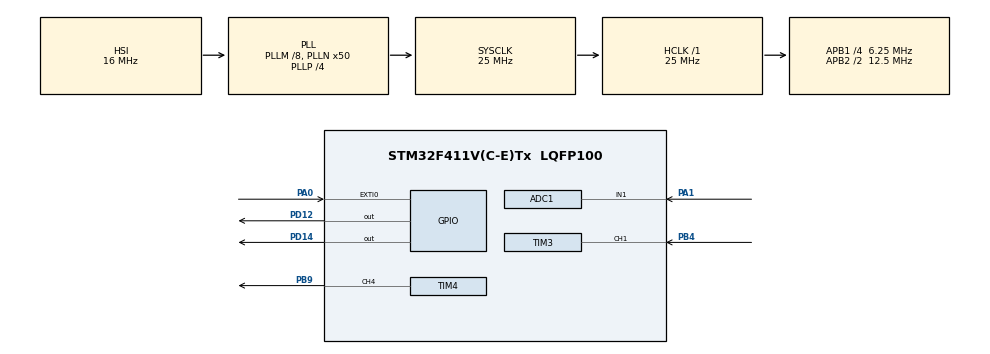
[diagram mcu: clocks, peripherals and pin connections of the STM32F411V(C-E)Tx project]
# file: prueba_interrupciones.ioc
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ADC1.Channel-0\#ChannelRegularConversion=ADC_CHANNEL_1
ADC1.DMAContinuousRequests=ENABLE
ADC1.NbrOfConversionFlag=1
ADC1.Rank-0\#ChannelRegularConversion=1
ADC1.Resolution=ADC_RESOLUTION_8B
ADC1.SamplingTime-0\#ChannelRegularConversion=ADC_SAMPLETIME_480CYCLES
ADC1.master=1
Dma.ADC1.0.Direction=DMA_PERIPH_TO_MEMORY
Dma.ADC1.0.FIFOMode=DMA_FIFOMODE_DISABLE
Dma.ADC1.0.Instance=DMA2_Stream0
Dma.ADC1.0.MemDataAlignment=DMA_MDATAALIGN_WORD
Dma.ADC1.0.MemInc=DMA_MINC_ENABLE
Dma.ADC1.0.Mode=DMA_CIRCULAR
Dma.ADC1.0.PeriphDataAlignment=DMA_PDATAALIGN_WORD
Dma.ADC1.0.PeriphInc=DMA_PINC_DISABLE
Dma.ADC1.0.Priority=DMA_PRIORITY_LOW
Dma.Request0=ADC1
Mcu.Family=STM32F4
Mcu.Name=STM32F411V(C-E)Tx
Mcu.Package=LQFP100
NVIC.ADC_IRQn=true\:0\:0\:false\:false\:true\:true\:true\:true
NVIC.DMA2_Stream0_IRQn=true\:0\:0\:false\:false\:true\:false\:true\:true
NVIC.EXTI0_IRQn=true\:0\:0\:false\:false\:true\:true\:true\:true
NVIC.PriorityGroup=NVIC_PRIORITYGROUP_0
NVIC.TIM1_UP_TIM10_IRQn=true\:0\:0\:false\:false\:true\:true\:true\:true
NVIC.TIM3_IRQn=true\:0\:0\:false\:false\:true\:true\:true\:true
PA0-WKUP.GPIO_ModeDefaultEXTI=GPIO_MODE_IT_RISING
PA0-WKUP.Signal=GPXTI0
PA1.Signal=ADCx_IN1
PB4.Signal=S_TIM3_CH1
PB9.Signal=S_TIM4_CH4
PD12.Signal=GPIO_Output
PD14.Signal=GPIO_Output
ProjectManager.HeapSize=0x200
ProjectManager.StackSize=0x400
ProjectManager.TargetToolchain=STM32CubeIDE
RCC.48MHZClocksFreq_Value=12500000
RCC.AHBFreq_Value=25000000
RCC.APB1CLKDivider=RCC_HCLK_DIV4
RCC.APB1Freq_Value=6250000
RCC.APB1TimFreq_Value=12500000
RCC.APB2CLKDivider=RCC_HCLK_DIV2
RCC.APB2Freq_Value=12500000
RCC.APB2TimFreq_Value=25000000
RCC.CortexFreq_Value=25000000
RCC.HCLKFreq_Value=25000000
RCC.HSE_VALUE=8000000
RCC.HSI_VALUE=16000000
RCC.LSE_VALUE=32768
RCC.PLLI2SM=5
RCC.PLLI2SN=200
RCC.PLLM=8
RCC.PLLN=50
RCC.PLLP=RCC_PLLP_DIV4
RCC.PLLQ=8
RCC.SYSCLKFreq_VALUE=25000000
RCC.SYSCLKSource=RCC_SYSCLKSOURCE_PLLCLK
RCC.VCOOutputFreq_Value=100000000
SH.ADCx_IN1.0=ADC1_IN1,IN1
SH.S_TIM3_CH1.0=TIM3_CH1,Input_Capture1_from_TI1
SH.S_TIM4_CH4.0=TIM4_CH4,PWM Generation4 CH4
TIM10.Period=9999
TIM10.Prescaler=49999
TIM3.Channel-Input_Capture1_from_TI1=TIM_CHANNEL_1
TIM3.Period=999
TIM3.Prescaler=49
TIM4.Channel-PWM\ Generation4\ CH4=TIM_CHANNEL_4
TIM4.Period=999
TIM4.Prescaler=49
VP_TIM10_VS_ClockSourceINT.Mode=Enable_Timer
VP_TIM3_VS_ClockSourceINT.Mode=Internal
board=STM32F411E-DISCO

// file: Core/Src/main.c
/* USER CODE BEGIN Header */
/**
  ******************************************************************************
  * @file           : main.c
  * @brief          : Main program body
  ******************************************************************************
  * @attention
  *
  * Copyright (c) 2025 STMicroelectronics.
  * All rights reserved.
  *
  * This software is licensed under terms that can be found in the LICENSE file
  * in the root directory of this software component.
  * If no LICENSE file comes with this software, it is provided AS-IS.
  *
  ******************************************************************************
  */
/* USER CODE END Header */
#include "main.h"

/* USER CODE BEGIN PD */
#define Umbral_light 50    //CONSTANTE PARA MEDIR LUMINOSIDAD
#define Umbral_distance 400	//CONSTANTE PARA MEDIR LA DISTANCIA
/* USER CODE END PD */

ADC_HandleTypeDef hadc1;
DMA_HandleTypeDef hdma_adc1;

TIM_HandleTypeDef htim3;
TIM_HandleTypeDef htim4;
TIM_HandleTypeDef htim10;

/* USER CODE BEGIN PV */
uint32_t luz=0;//aqui se almacena el valor digital de la luminosidad una vez convertido del analogico
uint32_t IC_1 = 0; // valor del contador en el flanco de subida
uint32_t IC_2 = 0; // valor del contador en el flanco de bajada
uint32_t distancia = 0; // distancia detectada por el ultrasonido

volatile uint8_t SW=0;//SW activo o no
volatile uint8_t sensor_luz=0;//sensor de luz activo o no
volatile uint8_t sensor_presencia=0;//sensor de presencia activo o no
/* USER CODE END PV */

void SystemClock_Config(void);
static void MX_GPIO_Init(void);
static void MX_DMA_Init(void);
static void MX_ADC1_Init(void);
static void MX_TIM4_Init(void);
static void MX_TIM3_Init(void);
static void MX_TIM10_Init(void);

/* USER CODE BEGIN 0 */

void HAL_GPIO_EXTI_Callback(uint16_t GPIO_Pin){
	if(GPIO_Pin == GPIO_PIN_0){
		if(SW == 0){
			SW = 1;
			sensor_luz = 0; //forzamos que la luz no se pueda encender por presencia
			HAL_ADC_Stop_DMA(&hadc1); // paramos la medida de la luminosidad
			HAL_TIM_IC_Stop_IT(&htim3, TIM_CHANNEL_1); // paramos la medida de la presencia
		}
		else{
			SW = 0;
			HAL_ADC_Start_DMA(&hadc1, &luz, 1); // arrancamos la medida de la luminosidad
			HAL_TIM_IC_Start_IT(&htim3, TIM_CHANNEL_1); // arrancamos la medida de la presencia
		}
	}
}

void HAL_ADC_ConvCpltCallback(ADC_HandleTypeDef *hadc){
	if(hadc->Instance == ADC1){
		// Como el DMA lo hace por nosotros, no hace falta coger el valor devuelto por el convertidor
		//como estamos usando DMA, no tenemos que tratar el valor devuelto por el convertidor
		if(luz < Umbral_light && sensor_luz == 0){
			sensor_luz = 1; // si no hay luz ambiente, podemos encender el LED
			sensor_presencia = 0;
		}
		else if(luz > Umbral_light && sensor_luz == 1){
			sensor_luz = 0; // si hay luz ambiente, no podemos encender el LED
			sensor_presencia = 0;
		}
		HAL_ADC_Start_DMA(&hadc1, &luz, 1); // arrancamos de nuevo el convertidor
	}
}

void HAL_TIM_IC_CaptureCallback(TIM_HandleTypeDef *htim){
	if(htim->Instance == TIM3){
		if (IC_1 == 0){ // si todavia no se ha producido el flanco de subida
			IC_1 = HAL_TIM_ReadCapturedValue(&htim3, TIM_CHANNEL_1);//leemos el valor del tiempo cuando ocurre el flanco de subida
			// Cambiamos la sensibilidad de la interrupción al flanco de bajada
			__HAL_TIM_SET_CAPTUREPOLARITY(&htim3, TIM_CHANNEL_1, TIM_INPUTCHANNELPOLARITY_FALLING);
		}
		else if (IC_1 != 0){ // si ya se ha producido el flanco de subida
			IC_2 = HAL_TIM_ReadCapturedValue(&htim3, TIM_CHANNEL_1);//leemos el valor del tiempo cuando ocurre el flanco de bajada

			__HAL_TIM_SET_COUNTER(htim, 0);
			if (IC_2 > IC_1){
				distancia = IC_2 - IC_1;
			}
			else if (IC_1 > IC_2){
				distancia = (0xffff - IC_1) + IC_2;
			}
			if(distancia < Umbral_distance){ // presencia detectada
				sensor_presencia = 1;
				HAL_TIM_Base_Start_IT(&htim10); // iniciamos el temporizador de 5 segundos
			}
			IC_1 = 0;
			// Cambiamos la sensibilidad de la interrupción al flanco de subida
			__HAL_TIM_SET_CAPTUREPOLARITY(&htim3, TIM_CHANNEL_1, TIM_INPUTCHANNELPOLARITY_RISING);
		}
	}
}

void HAL_TIM_PeriodElapsedCallback(TIM_HandleTypeDef *htim){
	if(htim->Instance == TIM10){
		sensor_presencia = 0;
		HAL_TIM_Base_Stop_IT(&htim10);
	}
}
/* USER CODE END 0 */

int main(void)
{

  /* MCU Configuration--------------------------------------------------------*/

  /* Reset of all peripherals, Initializes the Flash interface and the Systick. */
  HAL_Init();

  /* Configure the system clock */
  SystemClock_Config();

  /* Initialize all configured peripherals */
  MX_GPIO_Init();
  MX_DMA_Init();
  MX_ADC1_Init();
  MX_TIM4_Init();
  MX_TIM3_Init();
  MX_TIM10_Init();
  /* USER CODE BEGIN 2 */
  HAL_TIM_IC_Start_IT(&htim3, TIM_CHANNEL_1);//iniciamos el temporizador input capture
  HAL_TIM_PWM_Start(&htim4, TIM_CHANNEL_4);//temporizador para el trigger del sensor ultrasonido
  __HAL_TIM_SET_COMPARE(&htim4, TIM_CHANNEL_4, 10);
  HAL_ADC_Start_DMA(&hadc1, &luz, 1);//iniciamos el conversor analogico digital para el sensor LDR
  /* USER CODE END 2 */

  /* Infinite loop */
  while (1)
  {

    /* USER CODE BEGIN 3 */
	  // Si el LED verde está encendido (PD12), apaga el LED rojo (PD14)
	  if (HAL_GPIO_ReadPin(GPIOD, GPIO_PIN_12) == GPIO_PIN_SET)
	  {
	      HAL_GPIO_WritePin(GPIOD, GPIO_PIN_14, GPIO_PIN_RESET); // Apaga LED rojo
	  }
	  else
	  {
	      HAL_GPIO_WritePin(GPIOD, GPIO_PIN_14, GPIO_PIN_SET); // Enciende LED rojo
	  }

	  if(SW==1)//bucle para encender el led con el SW
	  {
		  HAL_GPIO_WritePin(GPIOD, GPIO_PIN_12, GPIO_PIN_SET);
	  }else if(SW==0 && sensor_luz==1 && sensor_presencia==1)//bucle para encender el led con presencia
	  {
		  HAL_GPIO_WritePin(GPIOD, GPIO_PIN_12, GPIO_PIN_SET);
		  HAL_GPIO_WritePin(GPIOD, GPIO_PIN_14, GPIO_PIN_RESET);
		  HAL_Delay(5000);
	  }else
	  {
		  HAL_GPIO_WritePin(GPIOD, GPIO_PIN_12, GPIO_PIN_RESET);
	  }
  }
  /* USER CODE END 3 */
}

void SystemClock_Config(void)
{
  RCC_OscInitTypeDef RCC_OscInitStruct = {0};
  RCC_ClkInitTypeDef RCC_ClkInitStruct = {0};

  /** Configure the main internal regulator output voltage
  */
  __HAL_RCC_PWR_CLK_ENABLE();
  __HAL_PWR_VOLTAGESCALING_CONFIG(PWR_REGULATOR_VOLTAGE_SCALE1);

  /** Initializes the RCC Oscillators according to the specified parameters
  * in the RCC_OscInitTypeDef structure.
  */
  RCC_OscInitStruct.OscillatorType = RCC_OSCILLATORTYPE_HSI;
  RCC_OscInitStruct.HSIState = RCC_HSI_ON;
  RCC_OscInitStruct.HSICalibrationValue = RCC_HSICALIBRATION_DEFAULT;
  RCC_OscInitStruct.PLL.PLLState = RCC_PLL_ON;
  RCC_OscInitStruct.PLL.PLLSource = RCC_PLLSOURCE_HSI;
  RCC_OscInitStruct.PLL.PLLM = 8;
  RCC_OscInitStruct.PLL.PLLN = 50;
  RCC_OscInitStruct.PLL.PLLP = RCC_PLLP_DIV4;
  RCC_OscInitStruct.PLL.PLLQ = 8;
  if (HAL_RCC_OscConfig(&RCC_OscInitStruct) != HAL_OK)
  {
    Error_Handler();
  }

  /** Initializes the CPU, AHB and APB buses clocks
  */
  RCC_ClkInitStruct.ClockType = RCC_CLOCKTYPE_HCLK|RCC_CLOCKTYPE_SYSCLK
                              |RCC_CLOCKTYPE_PCLK1|RCC_CLOCKTYPE_PCLK2;
  RCC_ClkInitStruct.SYSCLKSource = RCC_SYSCLKSOURCE_PLLCLK;
  RCC_ClkInitStruct.AHBCLKDivider = RCC_SYSCLK_DIV1;
  RCC_ClkInitStruct.APB1CLKDivider = RCC_HCLK_DIV4;
  RCC_ClkInitStruct.APB2CLKDivider = RCC_HCLK_DIV2;

  if (HAL_RCC_ClockConfig(&RCC_ClkInitStruct, FLASH_LATENCY_0) != HAL_OK)
  {
    Error_Handler();
  }
}

static void MX_ADC1_Init(void)
{

  ADC_ChannelConfTypeDef sConfig = {0};

  /** Configure the global features of the ADC (Clock, Resolution, Data Alignment and number of conversion)
  */
  hadc1.Instance = ADC1;
  hadc1.Init.ClockPrescaler = ADC_CLOCK_SYNC_PCLK_DIV2;
  hadc1.Init.Resolution = ADC_RESOLUTION_8B;
  hadc1.Init.ScanConvMode = DISABLE;
  hadc1.Init.ContinuousConvMode = DISABLE;
  hadc1.Init.DiscontinuousConvMode = DISABLE;
  hadc1.Init.ExternalTrigConvEdge = ADC_EXTERNALTRIGCONVEDGE_NONE;
  hadc1.Init.ExternalTrigConv = ADC_SOFTWARE_START;
  hadc1.Init.DataAlign = ADC_DATAALIGN_RIGHT;
  hadc1.Init.NbrOfConversion = 1;
  hadc1.Init.DMAContinuousRequests = ENABLE;
  hadc1.Init.EOCSelection = ADC_EOC_SINGLE_CONV;
  if (HAL_ADC_Init(&hadc1) != HAL_OK)
  {
    Error_Handler();
  }

  /** Configure for the selected ADC regular channel its corresponding rank in the sequencer and its sample time.
  */
  sConfig.Channel = ADC_CHANNEL_1;
  sConfig.Rank = 1;
  sConfig.SamplingTime = ADC_SAMPLETIME_480CYCLES;
  if (HAL_ADC_ConfigChannel(&hadc1, &sConfig) != HAL_OK)
  {
    Error_Handler();
  }

}

static void MX_TIM3_Init(void)
{

  TIM_ClockConfigTypeDef sClockSourceConfig = {0};
  TIM_MasterConfigTypeDef sMasterConfig = {0};
  TIM_IC_InitTypeDef sConfigIC = {0};

  htim3.Instance = TIM3;
  htim3.Init.Prescaler = 49;
  htim3.Init.CounterMode = TIM_COUNTERMODE_UP;
  htim3.Init.Period = 999;
  htim3.Init.ClockDivision = TIM_CLOCKDIVISION_DIV1;
  htim3.Init.AutoReloadPreload = TIM_AUTORELOAD_PRELOAD_DISABLE;
  if (HAL_TIM_Base_Init(&htim3) != HAL_OK)
  {
    Error_Handler();
  }
  sClockSourceConfig.ClockSource = TIM_CLOCKSOURCE_INTERNAL;
  if (HAL_TIM_ConfigClockSource(&htim3, &sClockSourceConfig) != HAL_OK)
  {
    Error_Handler();
  }
  if (HAL_TIM_IC_Init(&htim3) != HAL_OK)
  {
    Error_Handler();
  }
  sMasterConfig.MasterOutputTrigger = TIM_TRGO_RESET;
  sMasterConfig.MasterSlaveMode = TIM_MASTERSLAVEMODE_DISABLE;
  if (HAL_TIMEx_MasterConfigSynchronization(&htim3, &sMasterConfig) != HAL_OK)
  {
    Error_Handler();
  }
  sConfigIC.ICPolarity = TIM_INPUTCHANNELPOLARITY_RISING;
  sConfigIC.ICSelection = TIM_ICSELECTION_DIRECTTI;
  sConfigIC.ICPrescaler = TIM_ICPSC_DIV1;
  sConfigIC.ICFilter = 0;
  if (HAL_TIM_IC_ConfigChannel(&htim3, &sConfigIC, TIM_CHANNEL_1) != HAL_OK)
  {
    Error_Handler();
  }

}

static void MX_TIM4_Init(void)
{

  TIM_MasterConfigTypeDef sMasterConfig = {0};
  TIM_OC_InitTypeDef sConfigOC = {0};

  htim4.Instance = TIM4;
  htim4.Init.Prescaler = 49;
  htim4.Init.CounterMode = TIM_COUNTERMODE_UP;
  htim4.Init.Period = 999;
  htim4.Init.ClockDivision = TIM_CLOCKDIVISION_DIV1;
  htim4.Init.AutoReloadPreload = TIM_AUTORELOAD_PRELOAD_DISABLE;
  if (HAL_TIM_PWM_Init(&htim4) != HAL_OK)
  {
    Error_Handler();
  }
  sMasterConfig.MasterOutputTrigger = TIM_TRGO_RESET;
  sMasterConfig.MasterSlaveMode = TIM_MASTERSLAVEMODE_DISABLE;
  if (HAL_TIMEx_MasterConfigSynchronization(&htim4, &sMasterConfig) != HAL_OK)
  {
    Error_Handler();
  }
  sConfigOC.OCMode = TIM_OCMODE_PWM1;
  sConfigOC.Pulse = 0;
  sConfigOC.OCPolarity = TIM_OCPOLARITY_HIGH;
  sConfigOC.OCFastMode = TIM_OCFAST_DISABLE;
  if (HAL_TIM_PWM_ConfigChannel(&htim4, &sConfigOC, TIM_CHANNEL_4) != HAL_OK)
  {
    Error_Handler();
  }
  HAL_TIM_MspPostInit(&htim4);

}

static void MX_TIM10_Init(void)
{

  htim10.Instance = TIM10;
  htim10.Init.Prescaler = 49999;
  htim10.Init.CounterMode = TIM_COUNTERMODE_UP;
  htim10.Init.Period = 9999;
  htim10.Init.ClockDivision = TIM_CLOCKDIVISION_DIV1;
  htim10.Init.AutoReloadPreload = TIM_AUTORELOAD_PRELOAD_DISABLE;
  if (HAL_TIM_Base_Init(&htim10) != HAL_OK)
  {
    Error_Handler();
  }

}

static void MX_DMA_Init(void)
{

  /* DMA controller clock enable */
  __HAL_RCC_DMA2_CLK_ENABLE();

  /* DMA interrupt init */
  /* DMA2_Stream0_IRQn interrupt configuration */
  HAL_NVIC_SetPriority(DMA2_Stream0_IRQn, 0, 0);
  HAL_NVIC_EnableIRQ(DMA2_Stream0_IRQn);

}

static void MX_GPIO_Init(void)
{
  GPIO_InitTypeDef GPIO_InitStruct = {0};

  /* GPIO Ports Clock Enable */
  __HAL_RCC_GPIOA_CLK_ENABLE();
  __HAL_RCC_GPIOD_CLK_ENABLE();
  __HAL_RCC_GPIOB_CLK_ENABLE();

  /*Configure GPIO pin Output Level */
  HAL_GPIO_WritePin(GPIOD, GPIO_PIN_12|GPIO_PIN_14, GPIO_PIN_RESET);

  /*Configure GPIO pin : PA0 */
  GPIO_InitStruct.Pin = GPIO_PIN_0;
  GPIO_InitStruct.Mode = GPIO_MODE_IT_RISING;
  GPIO_InitStruct.Pull = GPIO_NOPULL;
  HAL_GPIO_Init(GPIOA, &GPIO_InitStruct);

  /*Configure GPIO pins : PD12 PD14 */
  GPIO_InitStruct.Pin = GPIO_PIN_12|GPIO_PIN_14;
  GPIO_InitStruct.Mode = GPIO_MODE_OUTPUT_PP;
  GPIO_InitStruct.Pull = GPIO_NOPULL;
  GPIO_InitStruct.Speed = GPIO_SPEED_FREQ_LOW;
  HAL_GPIO_Init(GPIOD, &GPIO_InitStruct);

  /* EXTI interrupt init*/
  HAL_NVIC_SetPriority(EXTI0_IRQn, 0, 0);
  HAL_NVIC_EnableIRQ(EXTI0_IRQn);

}

void Error_Handler(void)
{
  __disable_irq();
  while (1)
  {
  }
}
